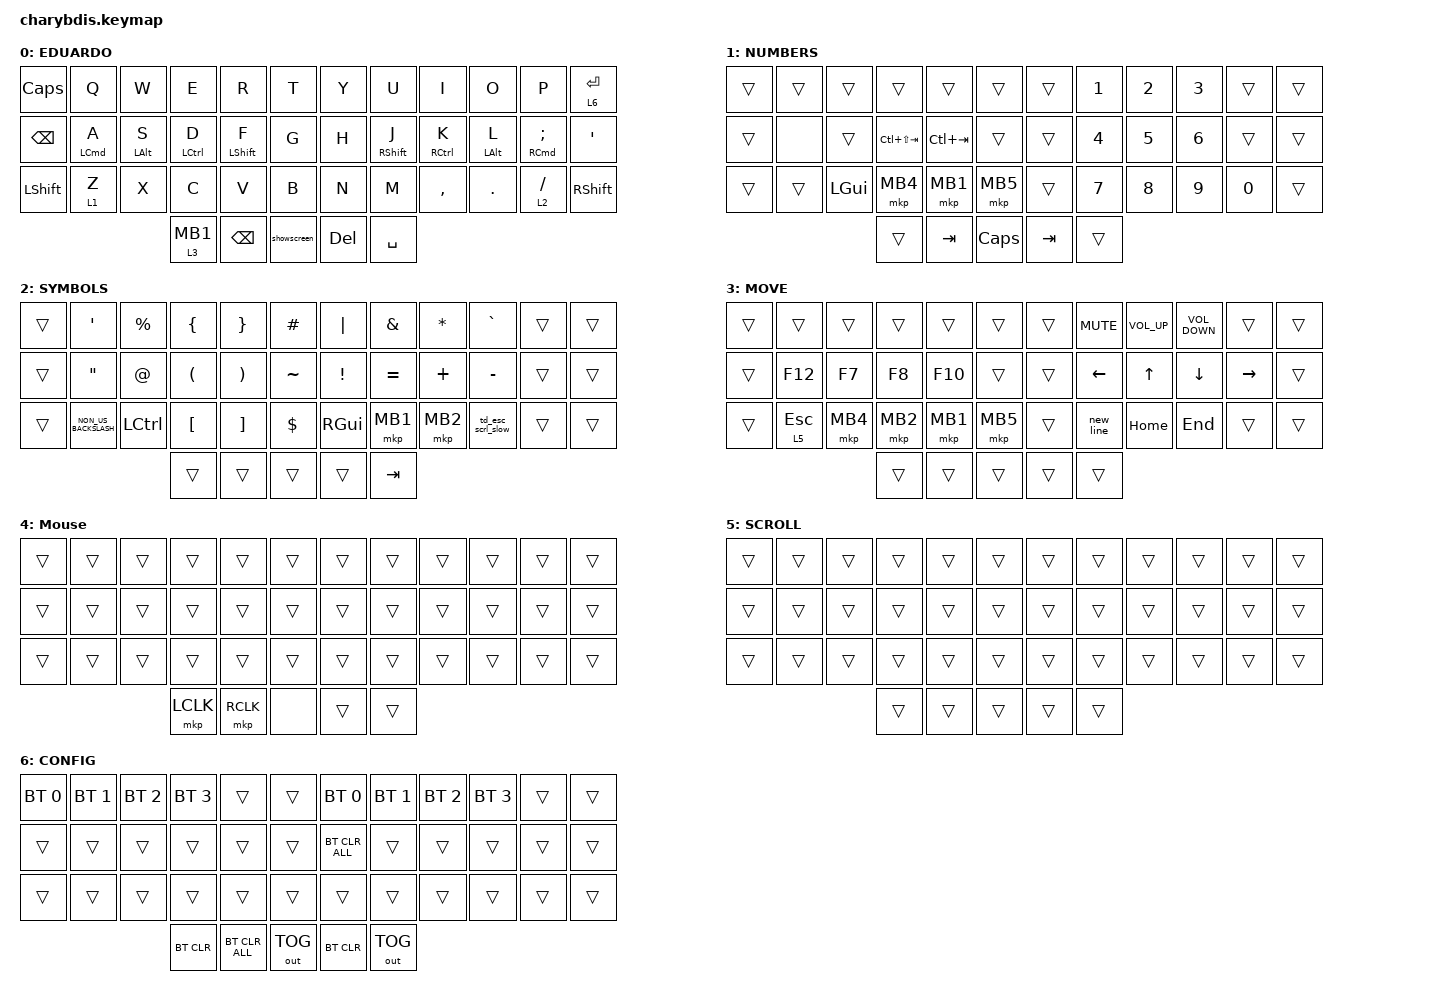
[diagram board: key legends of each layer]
#include <behaviors.dtsi>
#include <dt-bindings/zmk/bt.h>
#include <dt-bindings/zmk/keys.h>
#include <dt-bindings/zmk/outputs.h>
#include <dt-bindings/zmk/pointing.h>

#define BASE 0
#define NAVNUM 1
#define SYMBOL 2
#define MEDIA 3
#define MOUSE 4
#define SCROLL 5
#define KEYS_L 0 1 2 3 4 5 12 13 14 15 16 17 24 25 26 27 28 29 36 37 38 19 20 21 22  // Left-hand keys.
#define KEYS_R 6 7 8 9 10 11 18 19 20 21 22 23 30 31 32 33 34 35 39 40 16 15 14 13  // Right-hand keys.
#define THUMBS 36 37 38 39 40  // Thumb keys.
#define U_TAPPING_TERM 200

&sk {
    release-after-ms = <600>;
    quick-release;
};

&sl { ignore-modifiers; };

&mt { flavor = "tap-preferred"; };

&lt {
    flavor = "balanced";
    tapping-term-ms = <200>;
    quick-tap-ms = <175>;
};

&caps_word { /delete-property/ ignore-modifiers; };

/ {
    behaviors {
        u_mt: u_mt {
            compatible = "zmk,behavior-hold-tap";
            label = "u_mt";
            #binding-cells = <2>;
            tapping_term_ms = <U_TAPPING_TERM>;
            flavor = "tap-preferred";
            bindings = <&kp>, <&kp>;
        };

        u_lt: u_lt {
            compatible = "zmk,behavior-hold-tap";
            label = "u_lt";
            #binding-cells = <2>;
            tapping_term_ms = <U_TAPPING_TERM>;
            flavor = "tap-preferred";
            bindings = <&mo>, <&kp>;
        };

        Shift_Enter: Shift_Enter {
            compatible = "zmk,behavior-hold-tap";
            label = "SHIFT_ENTER";
            bindings = <&kp>, <&kp>;

            #binding-cells = <2>;
            hold-trigger-key-positions = <40>;
            tapping-term-ms = <100>;
        };

        hml: hml {
            compatible = "zmk,behavior-hold-tap";
            #binding-cells = <2>;
            flavor = "balanced";
            tapping-term-ms = <2000>;
            quick-tap-ms = <175>;
            require-prior-idle-ms = <250>;
            hold-trigger-key-positions = <KEYS_R THUMBS>;
            hold-trigger-on-release;
            bindings = <&kp>, <&kp>;
        };

        hmr: hmr {
            compatible = "zmk,behavior-hold-tap";
            #binding-cells = <2>;
            flavor = "balanced";
            tapping-term-ms = <2000>;
            quick-tap-ms = <175>;
            require-prior-idle-ms = <250>;
            hold-trigger-key-positions = <KEYS_L THUMBS>;
            hold-trigger-on-release;
            bindings = <&kp>, <&kp>;
        };

        hml_s: hml_s {
            compatible = "zmk,behavior-hold-tap";
            #binding-cells = <2>;
            flavor = "balanced";
            tapping-term-ms = <2000>;
            quick-tap-ms = <175>;
            require-prior-idle-ms = <0>;
            hold-trigger-key-positions = <KEYS_R THUMBS>;
            hold-trigger-on-release;
            bindings = <&kp>, <&kp>;
        };

        hmr_s: hmr_s {
            compatible = "zmk,behavior-hold-tap";
            #binding-cells = <2>;
            flavor = "balanced";
            tapping-term-ms = <2000>;
            quick-tap-ms = <175>;
            require-prior-idle-ms = <0>;
            hold-trigger-key-positions = <KEYS_L THUMBS>;
            hold-trigger-on-release;
            bindings = <&kp>, <&kp>;
        };

        smart_shift: smart_shift {
            compatible = "zmk,behavior-mod-morph";
            #binding-cells = <0>;
            bindings = <&sk LSHIFT>, <&caps_word>;

            mods = <(MOD_LSFT)>;
        };

        td_bs: td_bs {
            compatible = "zmk,behavior-hold-tap";
            #binding-cells = <2>;
            flavor = "balanced";
            tapping-term-ms = <200>;
            hold-while-undecided;
            bindings = <&mo>, <&mkp>;
        };

        showscreen: showscreen {
            compatible = "zmk,behavior-tap-dance";
            #binding-cells = <0>;
            tapping-term-ms = <250>;
            bindings = <&kp LC(UP_ARROW)>, <&kp LG(UP_ARROW)>;
        };

        // Left-hand HRM

        ht_left: left_side_homerow_mod {
            compatible = "zmk,behavior-hold-tap";
            #binding-cells = <2>;
            flavor = "balanced";
            tapping-term-ms = <280>;
            quick-tap-ms = <175>;
            require-prior-idle-ms = <150>;
            bindings = <&kp>, <&kp>;

            hold-trigger-key-positions = <KEYS_R THUMBS>;
            hold-trigger-on-release;
        };

        // Right-hand HRM

        ht_right: right_side_homerow_mod {
            compatible = "zmk,behavior-hold-tap";
            #binding-cells = <2>;
            flavor = "balanced";
            tapping-term-ms = <280>;
            quick-tap-ms = <175>;
            require-prior-idle-ms = <125>;
            bindings = <&kp>, <&kp>;

            hold-trigger-key-positions = <KEYS_L THUMBS>;
            hold-trigger-on-release;
        };

        td_esc_scrl_slow: td_esc_scrl_slow {
            compatible = "zmk,behavior-tap-dance";
            #binding-cells = <0>;
            tapping-term-ms = <150>;
            bindings = <&lt 5 ESC>, <&mo 6>;

            // hold, tap, double_tap
        };
    };

    combos {
        compatible = "zmk,combos";

        LeftClickRight {
            bindings = <&mkp LCLK>;
            key-positions = <19 20>;
        };

        RightClickRight {
            bindings = <&mkp RCLK>;
            key-positions = <20 21>;
        };

        MiddleClickRight {
            bindings = <&mkp MCLK>;
            key-positions = <21 22>;
        };

        ParaLeft {
            bindings = <&kp LEFT_PARENTHESIS>;
            key-positions = <4 16>;
        };

        ParaRight {
            bindings = <&kp RIGHT_PARENTHESIS>;
            key-positions = <7 19>;
        };

        BrakLeft {
            bindings = <&kp LEFT_BRACKET>;
            key-positions = <3 15>;
        };

        BrakRight {
            bindings = <&kp RIGHT_BRACKET>;
            key-positions = <8 20>;
        };

        BraceLeft {
            bindings = <&kp LEFT_BRACE>;
            key-positions = <2 14>;
        };

        BraceRight {
            bindings = <&kp RIGHT_BRACE>;
            key-positions = <9 21>;
        };

        Delete {
            bindings = <&kp DELETE>;
            key-positions = <8 9>;
        };

        CapsWord {
            bindings = <&caps_word>;
            key-positions = <27 28 31 32>;
        };

        MiddleClick {
            bindings = <&mkp MCLK>;
            key-positions = <49 52>;
        };

        righ_enter {
            key-positions = <31 32>;
            bindings = <&kp ENTER>;
        };

        left_enter {
            bindings = <&mkp MB1>;
            key-positions = <27 28>;
        };

        lockscreen {
            bindings = <&kp LG(LC(Q))>;
            key-positions = <05 06>;
        };

        printscreen {
            bindings = <&kp LG(RS(N5))>;
            key-positions = <17 18>;
        };

        escsombo {
            bindings = <&kp ESC>;
            key-positions = <7 8>;
        };
    };

    macros {
        new_line: new_line {
            compatible = "zmk,behavior-macro";
            #binding-cells = <0>;
            bindings = <&kp LC(E) &kp ENTER>;
            label = "NEW_LINE";
        };
    };

    chosen { zmk,physical-layout = &charybdis_6col_layout; };

    keymap {
        compatible = "zmk,keymap";

        BASE {
            display-name = "EDUARDO";
            bindings = <
&kp CAPSLOCK   &kp Q            &kp W            &kp E             &kp R             &kp T          &kp Y       &kp U              &kp I              &kp O             &kp P                     &lt 6 ENTER
&kp BACKSPACE  &ht_left LCMD A  &ht_left LALT S  &ht_left LCTRL D  &ht_left LSHFT F  &kp G          &kp H       &ht_right RSHFT J  &ht_right RCTRL K  &ht_right LALT L  &ht_right RCMD SEMICOLON  &kp SQT
&kp LSHFT      &lt 1 Z          &kp X            &kp C             &kp V             &kp B          &kp N       &kp M              &kp COMMA          &kp PERIOD        &lt 2 SLASH               &kp RSHFT
                                                 &td_bs 3 MB1     &kp BACKSPACE     &showscreen    &kp DELETE  &kp SPACE
            >;
        };

        NAVNUM {
            display-name = "NUMBERS";
            bindings = <
&trans  &trans  &trans        &trans           &trans       &trans          &trans   &kp NUMBER_1  &kp NUMBER_2  &kp NUMBER_3  &trans        &trans
&trans  &none   &trans        &kp LC(LS(TAB))  &kp LC(TAB)  &trans          &trans   &kp NUMBER_4  &kp N5        &kp NUMBER_6  &trans        &trans
&trans  &trans  &kp LEFT_GUI  &mkp MB4         &mkp MB1     &mkp MB5        &trans   &kp N7        &kp N8        &kp N9        &kp NUMBER_0  &trans
                              &trans           &kp TAB      &kp CAPSLOCK    &kp TAB  &trans
            >;
        };

        SYMBOL {
            display-name = "SYMBOLS";
            bindings = <
&trans  &kp SQT               &kp PERCENT  &kp LEFT_BRACE        &kp RIGHT_BRACE        &kp HASH      &kp PIPE         &kp AMPERSAND  &kp ASTERISK  &kp GRAVE          &trans  &trans
&trans  &kp DQT               &kp AT_SIGN  &kp LEFT_PARENTHESIS  &kp RIGHT_PARENTHESIS  &kp TILDE     &kp EXCLAMATION  &kp EQUAL      &kp PLUS      &kp MINUS          &trans  &trans
&trans  &kp NON_US_BACKSLASH  &kp LCTRL    &kp LEFT_BRACKET      &kp RIGHT_BRACKET      &kp DOLLAR    &kp RIGHT_GUI    &mkp MB1       &mkp MB2      &td_esc_scrl_slow  &trans  &trans
                                           &trans                &trans                 &trans        &trans           &kp TAB
            >;
        };

        MEDIA {
            display-name = "MOVE";
            bindings = <
&trans  &trans        &trans    &trans    &trans    &trans      &trans  &kp K_MUTE  &kp C_VOLUME_UP  &kp C_VOLUME_DOWN  &trans     &trans
&trans  &kp F12       &kp F7    &kp F8    &kp F10   &trans      &trans  &kp LEFT    &kp UP_ARROW     &kp DOWN_ARROW     &kp RIGHT  &trans
&trans  &lt 5 ESCAPE  &mkp MB4  &mkp MB2  &mkp MB1  &mkp MB5    &trans  &new_line   &kp HOME         &kp END            &trans     &trans
                                &trans    &trans    &trans      &trans  &trans
            >;
        };

        MOUSE {
            display-name = "Mouse";
            bindings = <
&trans  &trans  &trans  &trans     &trans     &trans    &trans  &trans  &trans  &trans  &trans  &trans
&trans  &trans  &trans  &trans     &trans     &trans    &trans  &trans  &trans  &trans  &trans  &trans
&trans  &trans  &trans  &trans     &trans     &trans    &trans  &trans  &trans  &trans  &trans  &trans
                        &mkp LCLK  &mkp RCLK  &none     &trans  &trans
            >;
        };

        SCROLL {
            display-name = "SCROLL";
            bindings = <
&trans  &trans  &trans  &trans  &trans  &trans    &trans  &trans  &trans  &trans  &trans  &trans
&trans  &trans  &trans  &trans  &trans  &trans    &trans  &trans  &trans  &trans  &trans  &trans
&trans  &trans  &trans  &trans  &trans  &trans    &trans  &trans  &trans  &trans  &trans  &trans
                        &trans  &trans  &trans    &trans  &trans
            >;
        };

        Adjustments {
            display-name = "CONFIG";
            bindings = <
&bt BT_SEL 0  &bt BT_SEL 1  &bt BT_SEL 2  &bt BT_SEL 3  &trans  &trans          &bt BT_SEL 0  &bt BT_SEL 1  &bt BT_SEL 2  &bt BT_SEL 3  &trans  &trans
&trans        &trans        &trans        &trans        &trans  &trans          &bt BT_CLR_ALL        &trans        &trans        &trans        &trans  &trans
&trans        &trans        &trans        &trans        &trans  &trans          &trans        &trans        &trans        &trans        &trans  &trans
                                          &bt BT_CLR    &bt BT_CLR_ALL  &out OUT_TOG    &bt BT_CLR    &out OUT_TOG
            >;
        };
    };
};
